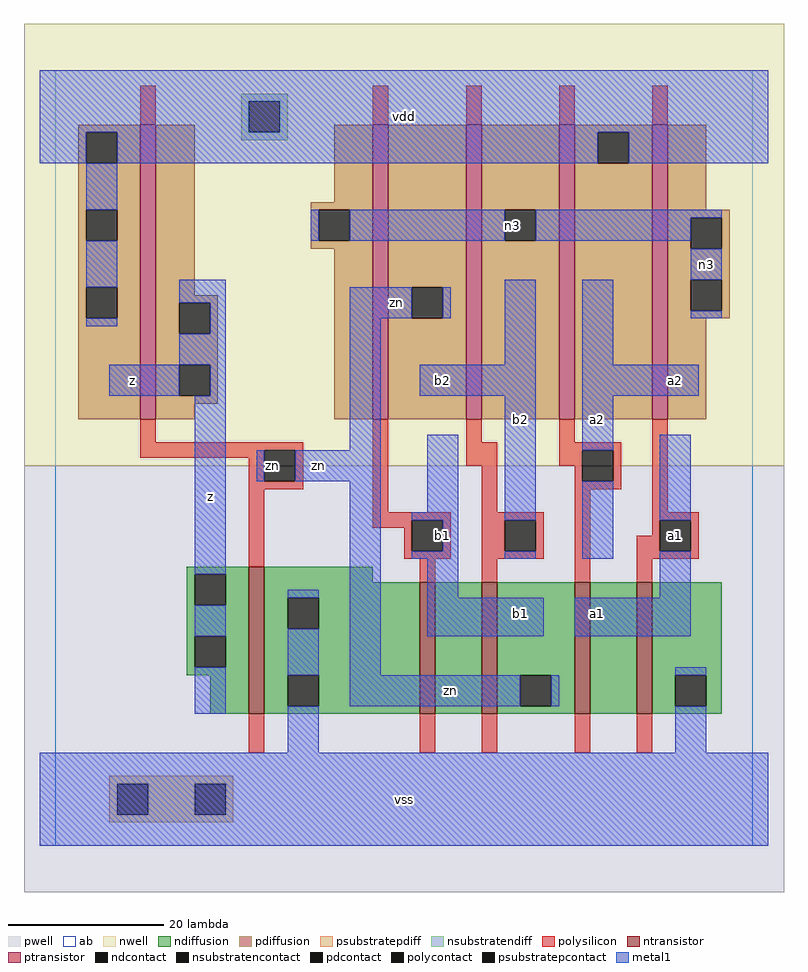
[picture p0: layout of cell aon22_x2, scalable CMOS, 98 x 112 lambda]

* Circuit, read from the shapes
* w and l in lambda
.subckt aon22_x2 a1 a2 b1 b2 n3 vdd vss z zn
M1 vss zn z vss nfet w=19 l=2
M2 n1 b1 vss vss nfet w=17 l=2
M3 zn b2 n1 vss nfet w=17 l=2
M4 n2 a2 zn vss nfet w=17 l=2
M5 vss a1 n2 vss nfet w=17 l=2
M6 z zn vdd vdd pfet w=38 l=2
M7 zn b1 n3 vdd pfet w=38 l=2
M8 n3 b2 zn vdd pfet w=38 l=2
M9 vdd a2 n3 vdd pfet w=38 l=2
M10 n3 a1 vdd vdd pfet w=38 l=2
.ends

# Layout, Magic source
magic
tech scmos
<< ab >>
rect 0 0 90 100
<< pwell >>
rect -4 -6 94 49
<< nwell >>
rect -4 49 94 106
<< polysilicon >>
rect 11 93 13 98
rect 41 93 43 98
rect 53 93 55 98
rect 65 93 67 98
rect 77 93 79 98
rect 11 52 13 55
rect 11 51 32 52
rect 11 50 27 51
rect 25 47 27 50
rect 31 47 32 51
rect 25 46 32 47
rect 25 36 27 46
rect 41 43 43 55
rect 53 52 55 55
rect 65 52 67 55
rect 53 49 57 52
rect 65 51 73 52
rect 65 49 68 51
rect 55 43 57 49
rect 67 47 68 49
rect 72 47 73 51
rect 67 46 73 47
rect 41 42 51 43
rect 41 41 46 42
rect 45 38 46 41
rect 50 38 51 42
rect 45 37 51 38
rect 55 42 63 43
rect 55 38 58 42
rect 62 38 63 42
rect 55 37 63 38
rect 47 34 49 37
rect 55 34 57 37
rect 67 34 69 46
rect 77 43 79 55
rect 77 42 83 43
rect 77 40 78 42
rect 75 38 78 40
rect 82 38 83 42
rect 75 37 83 38
rect 75 34 77 37
rect 25 12 27 17
rect 47 12 49 17
rect 55 12 57 17
rect 67 12 69 17
rect 75 12 77 17
<< ndiffusion >>
rect 17 35 25 36
rect 17 31 18 35
rect 22 31 25 35
rect 17 27 25 31
rect 17 23 18 27
rect 22 23 25 27
rect 17 22 25 23
rect 20 17 25 22
rect 27 34 41 36
rect 27 32 47 34
rect 27 28 30 32
rect 34 28 47 32
rect 27 22 47 28
rect 27 18 30 22
rect 34 18 47 22
rect 27 17 47 18
rect 49 17 55 34
rect 57 22 67 34
rect 57 18 60 22
rect 64 18 67 22
rect 57 17 67 18
rect 69 17 75 34
rect 77 22 86 34
rect 77 18 80 22
rect 84 18 86 22
rect 77 17 86 18
<< pdiffusion >>
rect 3 92 11 93
rect 3 88 4 92
rect 8 88 11 92
rect 3 82 11 88
rect 3 78 4 82
rect 8 78 11 82
rect 3 72 11 78
rect 3 68 4 72
rect 8 68 11 72
rect 3 55 11 68
rect 13 71 18 93
rect 36 83 41 93
rect 33 82 41 83
rect 33 78 34 82
rect 38 78 41 82
rect 33 77 41 78
rect 13 70 21 71
rect 13 66 16 70
rect 20 66 21 70
rect 13 62 21 66
rect 13 58 16 62
rect 20 58 21 62
rect 13 57 21 58
rect 13 55 18 57
rect 36 55 41 77
rect 43 72 53 93
rect 43 68 46 72
rect 50 68 53 72
rect 43 55 53 68
rect 55 82 65 93
rect 55 78 58 82
rect 62 78 65 82
rect 55 55 65 78
rect 67 92 77 93
rect 67 88 70 92
rect 74 88 77 92
rect 67 55 77 88
rect 79 82 84 93
rect 79 81 87 82
rect 79 77 82 81
rect 86 77 87 81
rect 79 73 87 77
rect 79 69 82 73
rect 86 69 87 73
rect 79 68 87 69
rect 79 55 84 68
<< metal1 >>
rect -2 92 92 100
rect -2 88 4 92
rect 8 88 70 92
rect 74 88 92 92
rect 4 82 8 88
rect 33 78 34 82
rect 38 78 58 82
rect 62 81 86 82
rect 62 78 82 81
rect 4 72 8 78
rect 82 73 86 77
rect 4 67 8 68
rect 16 70 22 73
rect 20 66 22 70
rect 16 62 22 66
rect 7 58 16 62
rect 20 58 22 62
rect 18 35 22 58
rect 38 68 46 72
rect 50 68 51 72
rect 38 51 42 68
rect 58 62 62 73
rect 47 58 62 62
rect 26 47 27 51
rect 31 47 42 51
rect 18 27 22 31
rect 18 17 22 23
rect 30 32 34 33
rect 30 22 34 28
rect 38 22 42 47
rect 48 43 52 53
rect 46 42 52 43
rect 50 38 52 42
rect 46 37 52 38
rect 58 42 62 58
rect 58 37 62 38
rect 68 62 72 73
rect 82 68 86 69
rect 68 58 83 62
rect 68 51 72 58
rect 68 37 72 47
rect 78 42 82 53
rect 48 32 52 37
rect 78 32 82 38
rect 48 27 63 32
rect 67 27 82 32
rect 80 22 84 23
rect 38 18 60 22
rect 64 18 65 22
rect 30 12 34 18
rect 80 12 84 18
rect -2 0 92 12
<< ntransistor >>
rect 25 17 27 36
rect 47 17 49 34
rect 55 17 57 34
rect 67 17 69 34
rect 75 17 77 34
<< ptransistor >>
rect 11 55 13 93
rect 41 55 43 93
rect 53 55 55 93
rect 65 55 67 93
rect 77 55 79 93
<< polycontact >>
rect 27 47 31 51
rect 68 47 72 51
rect 46 38 50 42
rect 58 38 62 42
rect 78 38 82 42
<< ndcontact >>
rect 18 31 22 35
rect 18 23 22 27
rect 30 28 34 32
rect 30 18 34 22
rect 60 18 64 22
rect 80 18 84 22
<< pdcontact >>
rect 4 88 8 92
rect 4 78 8 82
rect 4 68 8 72
rect 34 78 38 82
rect 16 66 20 70
rect 16 58 20 62
rect 46 68 50 72
rect 58 78 62 82
rect 70 88 74 92
rect 82 77 86 81
rect 82 69 86 73
<< psubstratepcontact >>
rect 8 4 12 8
rect 18 4 22 8
<< nsubstratencontact >>
rect 25 92 29 96
<< psubstratepdiff >>
rect 7 8 23 9
rect 7 4 8 8
rect 12 4 18 8
rect 22 4 23 8
rect 7 3 23 4
<< nsubstratendiff >>
rect 24 96 30 97
rect 24 92 25 96
rect 29 92 30 96
rect 24 91 30 92
<< labels >>
rlabel polycontact 28 49 28 49 6 zn
rlabel metal1 10 60 10 60 6 z
rlabel metal1 10 60 10 60 6 z
rlabel metal1 20 45 20 45 6 z
rlabel metal1 20 45 20 45 6 z
rlabel metal1 45 6 45 6 6 vss
rlabel metal1 45 6 45 6 6 vss
rlabel metal1 50 40 50 40 6 b1
rlabel metal1 50 40 50 40 6 b1
rlabel metal1 34 49 34 49 6 zn
rlabel metal1 50 60 50 60 6 b2
rlabel metal1 50 60 50 60 6 b2
rlabel metal1 44 70 44 70 6 zn
rlabel metal1 45 94 45 94 6 vdd
rlabel metal1 45 94 45 94 6 vdd
rlabel metal1 51 20 51 20 6 zn
rlabel metal1 70 30 70 30 6 a1
rlabel metal1 60 30 60 30 6 b1
rlabel metal1 60 30 60 30 6 b1
rlabel metal1 70 30 70 30 6 a1
rlabel metal1 60 55 60 55 6 b2
rlabel metal1 70 55 70 55 6 a2
rlabel metal1 70 55 70 55 6 a2
rlabel metal1 60 55 60 55 6 b2
rlabel polycontact 80 40 80 40 6 a1
rlabel polycontact 80 40 80 40 6 a1
rlabel metal1 80 60 80 60 6 a2
rlabel metal1 80 60 80 60 6 a2
rlabel metal1 84 75 84 75 6 n3
rlabel pdcontact 59 80 59 80 6 n3
<< end >>
